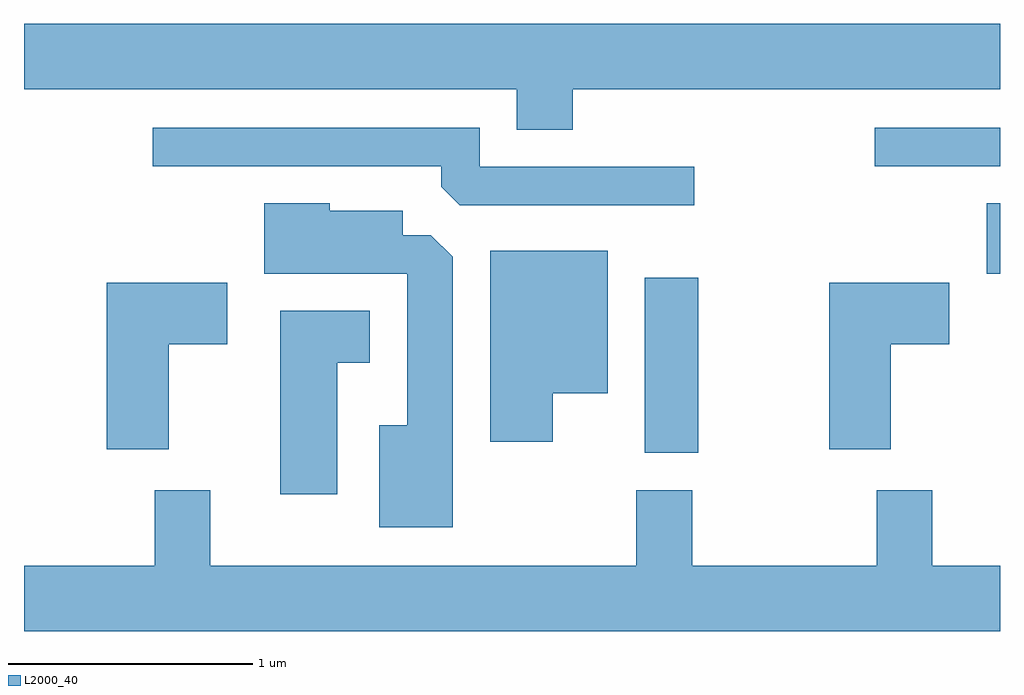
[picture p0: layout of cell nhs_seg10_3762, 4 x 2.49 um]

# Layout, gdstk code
import gdstk
lib = gdstk.Library(unit=1e-6, precision=1e-09)
def R(c, l, rs):  # rectangles x0, y0, x1, y1
    for r in rs: c.add(gdstk.rectangle(r[:2], r[2:], *l))
def P(c, l, *ps):  # polygons
    for p in ps: c.add(gdstk.Polygon(p, *l))
L2000_40 = (2000, 40)

nhs_seg10_3762 = lib.new_cell('nhs_seg10_3762')
R(nhs_seg10_3762, L2000_40, [(298.156,2163.486,298.374,2164.204), (299.556,2164.221,299.611,2164.509), (299.098,2164.661,299.611,2164.819)])
P(nhs_seg10_3762, L2000_40, [(297.859,2164.976),(299.611,2164.976),(299.611,2165.244),(295.611,2165.244),(295.611,2164.976),(297.631,2164.976),(297.631,2164.811),(297.859,2164.811)],
  [(298.358,2164.659),(297.479,2164.659),(297.479,2164.819),(296.138,2164.819),(296.138,2164.661),(297.321,2164.661),(297.321,2164.577),(297.397,2164.501),(298.358,2164.501)],
  [(297.369,2164.289),(297.279,2164.379),(297.164,2164.379),(297.164,2164.479),(296.864,2164.479),(296.864,2164.509),(296.596,2164.509),(296.596,2164.221),(297.181,2164.221),(297.181,2163.599),(297.066,2163.599),(297.066,2163.181),(297.369,2163.181)],
  [(297.779,2163.731),(298.004,2163.731),(298.004,2164.314),(297.521,2164.314),(297.521,2163.531),(297.779,2163.531)],
  [(296.204,2163.931),(296.444,2163.931),(296.444,2164.184),(295.951,2164.184),(295.951,2163.501),(296.204,2163.501)],
  [(299.164,2163.931),(299.404,2163.931),(299.404,2164.184),(298.911,2164.184),(298.911,2163.501),(299.164,2163.501)],
  [(296.894,2163.856),(297.029,2163.856),(297.029,2164.069),(296.661,2164.069),(296.661,2163.316),(296.894,2163.316)],
  [(299.611,2163.024),(299.334,2163.024),(299.334,2163.334),(299.106,2163.334),(299.106,2163.024),(298.349,2163.024),(298.349,2163.334),(298.121,2163.334),(298.121,2163.024),(296.374,2163.024),(296.374,2163.334),(296.146,2163.334),(296.146,2163.024),(295.611,2163.024),(295.611,2162.756),(299.611,2162.756)])

lib.write_gds('nhs_seg10_3762.gds')
